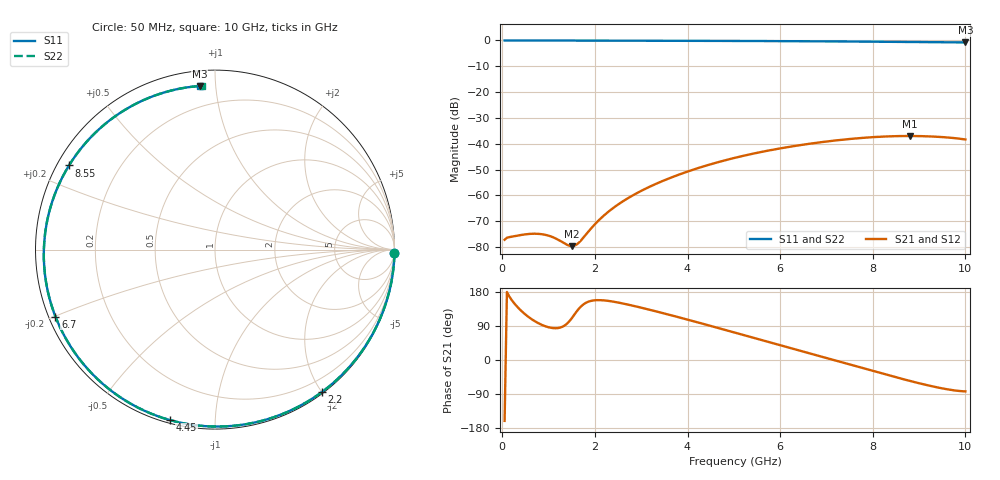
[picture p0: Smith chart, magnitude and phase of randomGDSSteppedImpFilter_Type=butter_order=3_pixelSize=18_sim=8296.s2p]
! freq	dB(S11)	phase(S11)	dB(S12)	phase(S12)
!  dB(S21)	phase(S21)	dB(S22)	phase(S22)
!S-par simulation data
#  GHz  S  DB  R 50
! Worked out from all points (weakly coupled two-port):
!   200 points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, 50 MHz to 10 GHz, reference 50 ohm
!   highest |S21| = -36.98 dB at 8.8 GHz (marker M1); lowest = -79.6 dB at 1.5 GHz (marker M2)
!   lowest |S11| = -0.8 dB at 10 GHz (marker M3), VSWR 22.65, Z = 4.04 + j45.4 ohm
!   |S11| at or under -10 dB: nowhere
!   |S22| runs from -0.8 to 0.0 dB; largest |S21 - S12| = 0
!   S11 on the Smith chart (normalised r, x): 50 MHz: 0, -93; 2.2 GHz: 0.02, -2.00; 4.45 GHz: 0.01, -0.77; 6.7 GHz: 0.02, -0.20; 8.55 GHz: 0.03, +0.27; 10 GHz: 0.08, +0.91
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0.05  -0.00 -1.2  -77.15 -160.7  -77.15 -160.7  -0.00 -1.2
0.1  -0.00 -2.5  -76.38 179.6  -76.38 179.6  -0.00 -2.5
0.4  -0.01 -9.9  -75.32 130.9  -75.32 130.9  -0.01 -9.9
0.8  -0.02 -19.6  -74.90 95.7  -74.90 95.7  -0.02 -19.6
1.05  -0.03 -25.7  -75.88 85.0  -75.88 85.0  -0.03 -25.7
1.5  -0.05 -36.5  -79.64 110.2  -79.64 110.2  -0.05 -36.5
1.6  -0.05 -38.9  -79.06 127.1  -79.06 127.1  -0.05 -38.9
1.75  -0.05 -42.5  -76.36 146.6  -76.36 146.6  -0.05 -42.5
2.2  -0.07 -53.1  -67.68 157.3  -67.68 157.3  -0.07 -53.1
2.7  -0.08 -64.8  -61.21 146.6  -61.21 146.6  -0.08 -64.8
3.4  -0.11 -80.9  -54.88 125.8  -54.88 125.8  -0.11 -80.9
4.45  -0.15 -104.6  -48.19 91.6  -48.19 91.6  -0.15 -104.7
5.05  -0.19 -118.2  -45.31 71.3  -45.31 71.3  -0.19 -118.3
5.85  -0.24 -136.7  -42.27 44.1  -42.27 44.1  -0.24 -136.7
6.7  -0.32 -157.2  -39.83 15.3  -39.83 15.3  -0.32 -157.4
7.55  -0.41 -179.7  -38.06 -13.4  -38.06 -13.4  -0.41 -179.9
7.95  -0.46 168.8  -37.49 -27.0  -37.49 -27.0  -0.46 168.5
8.35  -0.52 156.5  -37.12 -40.5  -37.12 -40.5  -0.52 156.2
8.55  -0.55 150.0  -37.02 -47.1  -37.02 -47.1  -0.55 149.6
8.8  -0.59 141.6  -36.98 -55.2  -36.98 -55.2  -0.59 141.1
9.45  -0.69 117.7  -37.35 -73.7  -37.35 -73.7  -0.69 117.1
10  -0.77 95.3  -38.34 -82.8  -38.34 -82.8  -0.77 94.5
